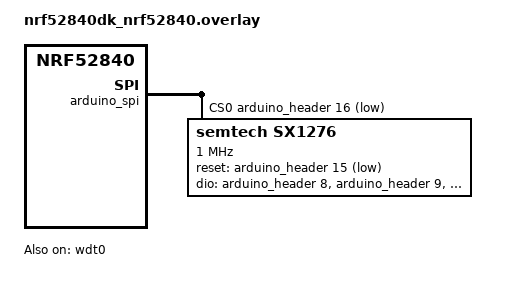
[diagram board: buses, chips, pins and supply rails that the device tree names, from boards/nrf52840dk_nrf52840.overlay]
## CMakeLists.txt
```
cmake_minimum_required(VERSION 3.20.0)

# Snippets shipped with this application (see snippets/). SNIPPET_ROOT covers
# only ZEPHYR_BASE unless the application adds itself, and it has to be set
# before find_package(Zephyr) because that is what processes -S.
list(APPEND SNIPPET_ROOT ${CMAKE_CURRENT_SOURCE_DIR})

# Credentials and any other per-installation override live in prj_local.conf,
# which .gitignore excludes. Applied automatically when present so nobody has to
# remember a flag, and absent by default so a fresh clone still builds — with
# the deliberately fake key Kconfig defaults to. See prj_local.conf.example.
if(EXISTS ${CMAKE_CURRENT_SOURCE_DIR}/prj_local.conf)
    list(APPEND EXTRA_CONF_FILE ${CMAKE_CURRENT_SOURCE_DIR}/prj_local.conf)
    message(STATUS "Applying prj_local.conf")
endif()

find_package(Zephyr REQUIRED HINTS $ENV{ZEPHYR_BASE})
project(base_platform_zephyr_ble_concentrator LANGUAGES C CXX)

# Modules include each other as "hal/ble/ble.hpp", "svc/comms/subsystem.hpp"
# and so on, so every include path is readable as a layer plus a module.
target_include_directories(app PRIVATE src)

# Function-local statics (every get_instance() in this firmware) make GCC emit
# calls to __cxa_guard_acquire/__cxa_guard_release, the thread-safe-init guards.
# Those live in libstdc++, which this build deliberately does not link
# (CONFIG_REQUIRES_FULL_LIBCPP=n in prj.conf), so the link fails on them.
#
# Dropping the guards is safe here because it is not left to chance:
# app::App::initialize() constructs every HAL singleton explicitly, before it
# creates the first thread. Read that function before adding a new singleton.
target_compile_options(app PRIVATE $<$<COMPILE_LANGUAGE:CXX>:-fno-threadsafe-statics>)

# Warnings, on the application only.
#
# CONFIG_COMPILER_WARNINGS_AS_ERRORS in prj.conf makes warnings fatal
# everywhere. Raising the warning level everywhere is a different thing: it
# would break the build on Zephyr and vendor code this project neither owns nor
# can fix. So the higher bar is scoped to the code we write.
target_compile_options(app PRIVATE -Wall -Wextra)

# ASSERT_CRITICAL is live on a debug build only. src/assert/assert.hpp gates on
# APP_DEBUG_BUILD and knows nothing about where it came from; mapping the build
# system's own idea of "debug" onto it happens here, which is the one file
# allowed to know.
if(CONFIG_DEBUG)
    target_compile_definitions(app PRIVATE APP_DEBUG_BUILD)
endif()

# Sources are listed rather than globbed: a file that is added but not built is
# a mistake worth catching at review time, not at link time.
target_sources(app PRIVATE
    src/main.cpp

    # Application
    src/app/app.cpp
    src/app/port.cpp
    src/app/state_machine/state_machine.cpp
    src/app/state_machine/startup/startup.cpp
    src/app/state_machine/listening/listening.cpp
    src/app/state_machine/dispatching/dispatching.cpp
    src/app/state_machine/soft_error/soft_error.cpp
    src/app/state_machine/hard_error/hard_error.cpp

    # Event driven architecture
    src/eda/active_object/active_object.cpp
    src/eda/idle_hook/idle_hook.cpp
    src/eda/port/port.cpp
    src/eda/state_machine/state_machine.cpp
    src/eda/timer/timer.cpp

    # Hardware abstraction layer
    src/hal/ble/zephyr/ble_zephyr.cpp
    src/hal/gpio/zephyr/gpio_zephyr.cpp
    src/hal/led/led.cpp
    src/hal/os/zephyr/os_zephyr.cpp
    src/hal/system/zephyr/system_zephyr.cpp
    src/hal/watchdog/zephyr/watchdog_zephyr.cpp

    # Utilities
    src/utils/fault/fault.cpp

    # Services
    src/svc/acquisition/subsystem.cpp
    src/svc/device_table/subsystem.cpp
    src/svc/comms/subsystem.cpp
    src/svc/system_diagnostics/subsystem.cpp
)

# Exactly one link backend is compiled, chosen by the "Uplink transport" menu
# in Kconfig. This is what makes one repository build both concentrator
# variants instead of forking: everything above src/hal/link is identical.
#
# The two socket backends also share src/hal/link/socket/, which holds the
# socket itself. They differ only in how the interface comes up, so that part
# is compiled once and each backend supplies the difference.
if(CONFIG_APP_LINK_LORA)
    target_sources(app PRIVATE src/hal/link/lora/link_lora.cpp)
elseif(CONFIG_APP_LINK_TCP)
    target_sources(app PRIVATE
        src/hal/link/socket/socket_link.cpp
        src/hal/link/tcp/link_tcp.cpp
    )
elseif(CONFIG_APP_LINK_WIFI)
    target_sources(app PRIVATE
        src/hal/link/socket/socket_link.cpp
        src/hal/link/wifi/link_wifi.cpp
    )
else()
    message(FATAL_ERROR
        "No link backend selected. Set CONFIG_APP_LINK_LORA, CONFIG_APP_LINK_TCP or CONFIG_APP_LINK_WIFI.")
endif()
```

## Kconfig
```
# Application configuration.
#
# Every tunable the firmware has is declared here and consumed through
# src/config.hpp, so no module reads a Kconfig symbol directly and no behaviour
# is changed by editing a source file.

menu "BLE concentrator"

# Uplink transport ------------------------------------------------------------
#
# The concentrator ships in two variants that differ only in how collected
# readings leave the device. Choosing here is what selects the one backend
# compiled under src/hal/link/, and what pulls in the Zephyr subsystem that
# backend needs, so prj.conf carries neither LoRa nor networking symbols.

choice APP_LINK_BACKEND
	prompt "Uplink transport"
	default APP_LINK_LORA
	help
	  Which hal::link backend the firmware is built with. Nothing above
	  hal/link changes with this choice.

config APP_LINK_LORA
	bool "LoRaWAN"
	select SPI
	select LORA
	select LORA_SX127X
	select LORAWAN
	# The stack stores its MAC context in settings, which is what carries the
	# DevNonce over a reboot. From LoRaWAN 1.0.4 an OTAA join must present a
	# DevNonce higher than the last one the join server saw for that DevEUI, so
	# a device that restarts at zero has its join refused as a replay - a join
	# that used to work and now silently does not. These were in prj.conf,
	# where they were also switched on for builds that have no LoRa stack to
	# store anything.
	select FLASH
	select FLASH_MAP
	select NVS
	select SETTINGS
	# Not SETTINGS_NVS or LORAWAN_NVM_SETTINGS: both are choice symbols,
	# and select has no effect on those. Neither is needed anyway. The
	# settings backend choice already carries `default SETTINGS_NVS if
	# NVS`, and the LoRaWAN NVM choice carries `default
	# LORAWAN_NVM_SETTINGS if SETTINGS`, so selecting NVS and SETTINGS
	# above is what picks both.
	help
	  Uplinks go out over LoRaWAN through an SX127x radio described in the
	  board overlay under the lora0 alias.

config APP_LINK_TCP
	bool "TCP"
	select NETWORKING
	select NET_IPV4
	select NET_TCP
	select NET_SOCKETS
	select NET_MGMT
	select NET_MGMT_EVENT
	help
	  Uplinks go out over a TCP connection to a fixed server. The network
	  interface comes from the board: an integrated MAC on a Nucleo, or an
	  SPI Ethernet controller such as a W5500 on a board without one.

config APP_LINK_WIFI
	bool "Wi-Fi"
	select NETWORKING
	select NET_IPV4
	select NET_TCP
	select NET_SOCKETS
	select NET_MGMT
	select NET_MGMT_EVENT
	select WIFI
	select NET_L2_WIFI_MGMT
	help
	  Uplinks go out over a TCP connection carried by Wi-Fi. The socket is
	  the same one the TCP backend uses - the two share
	  hal/link/socket/ - and the only difference is associating with an
	  access point first.

	  Built for the ESP32-S3-DevKitC-1. Two things about that part are
	  worth knowing before choosing this over the wired variant:

	  Wi-Fi and Bluetooth share one 2.4 GHz radio. The scanner goes deaf
	  while Wi-Fi transmits, which is a silicon-level compromise against
	  the rule in docs/ARCHITECTURE.md section 4 that nothing may delay
	  the radio. The nRF52840 plus a wired interface does not have it.

	  Espressif's radio drivers need a system heap and declare how much
	  through HEAP_MEM_POOL_ADD_SIZE_*: 51200 bytes for Wi-Fi and another
	  25600 for the Bluetooth controller, which on this SoC is a vendor
	  blob rather than Zephyr's own. Zephyr provisions exactly the sum.
	  Nothing in this firmware allocates either way; see prj.conf.

endchoice

if APP_LINK_LORA

config APP_LINK_LORA_REGION_US915
	bool "Use the US915 regional parameters"
	default y
	select LORAWAN_REGION_US915
	help
	  The only region implemented today. EU868 is not a matter of flipping
	  this symbol: it has no sub-bands, a single-word channel mask, an
	  enforced duty cycle and a different payload table. See docs/GATEWAYS.md.

config APP_LINK_LORA_SUBBAND
	int "US915 frequency sub-band the gateway uses"
	default 2
	range 1 8
	depends on APP_LINK_LORA_REGION_US915
	help
	  US915 has eight sub-bands and a gateway listens on exactly one.
	  Sub-band n covers the eight 125 kHz channels starting at (n-1)*8, plus
	  the 500 kHz channel 63+n. A device left to hunt all 72 channels takes a
	  very long time to join or never joins, and the symptom looks like an RF
	  or wiring fault rather than a configuration one.

	  Read this off the gateway: on a MultiTech Conduit it is
	  Setup -> LoRa -> Frequency Sub-Band. The unit this firmware is tested
	  against uses 2, which is also the common default.

config APP_LINK_LORA_DEV_EUI_FROM_HWINFO
	bool "Derive the DevEUI from the SoC's factory identifier"
	default y
	select HWINFO
	help
	  The nRF52840's factory identifier is eight bytes and unique per part,
	  which is exactly a DevEUI. Deriving it means a unit can be flashed and
	  powered on without being registered first, and no two units can
	  accidentally ship with the same identity.

	  This works because the gateway accepts any DevEUI presenting the right
	  AppEUI/AppKey pair. Against a join server with per-device credentials,
	  turn this off and set the DevEUI it was registered with.

config APP_LINK_LORA_MAX_UPLINKS_PER_DISPATCH
	int "Uplinks sent per dispatch cycle"
	default 3
	range 1 8
	help
	  How many LoRaWAN transmissions one dispatch cycle may make. Every
	  fragment of an uplink is a separate transmission, and a burst of
	  them back to back from one node is what gets a device throttled by
	  the network server.

	  Three, with the 900 s period above, is roughly 1.2 s of airtime
	  every 15 minutes at DR3 - about 0.13%, which no regional rule or
	  fair-use policy objects to. It reports about 27 devices per cycle at
	  25 bytes a record, so a room of 20 goes out in one pass.

	  Raising it further is not obviously wrong, but measure the airtime
	  first: at DR0 a single packet holds the channel for roughly a
	  quarter of a second, and the arithmetic that makes 3 comfortable at
	  DR3 is not the same one at DR0.

	  Devices that do not fit in a cycle are not dropped. Nothing is
	  acknowledged until it is sent, so they are still pending and the
	  next cycle leads with them. The cost of a low number is latency, not
	  data.

endif # APP_LINK_LORA

if APP_LINK_TCP

config APP_LINK_TCP_USE_DHCP
	bool "Obtain the IP address over DHCP"
	default n
	select NET_DHCPV4
	help
	  Off by default on purpose. With a static address a network that is not
	  there fails at connect() and the state machine retries, which is a
	  state the firmware already handles. With DHCP the device instead has
	  no address at all, and "the network is not up yet" becomes
	  indistinguishable from "the network is gone".

config APP_LINK_TCP_CONNECT_TIMEOUT_MS
	int "Milliseconds to wait for the TCP connection to establish"
	default 5000
	range 100 60000

config APP_LINK_TCP_MAX_FRAGMENT
	int "Largest uplink fragment handed to the transport, in bytes"
	default 242
	range 32 242
	help
	  TCP imposes no such limit, but reporting one keeps svc::comms
	  fragmenting exactly as it does on LoRaWAN, so the uplink wire format
	  and the fragmentation path are identical on both variants and only one
	  of them has to be tested. 242 is the LoRaWAN ceiling, so a fragment
	  built here is always one a LoRa build could also have sent.

endif # APP_LINK_TCP

if APP_LINK_WIFI

config APP_LINK_WIFI_USE_DHCP
	bool "Obtain the IP address over DHCP"
	default y
	select NET_DHCPV4
	help
	  On by default here, unlike the wired backend. An access point is
	  almost always handing out addresses already, and a Wi-Fi deployment
	  is the one where nobody wants to reserve a static address per
	  concentrator by hand.

config APP_LINK_WIFI_CONNECT_TIMEOUT_MS
	int "Milliseconds to wait for the TCP connection to establish"
	default 5000
	range 100 60000

config APP_LINK_WIFI_MAX_FRAGMENT
	int "Largest uplink fragment handed to the transport, in bytes"
	default 242
	range 32 242
	help
	  Wi-Fi imposes no such limit, but reporting one keeps svc::comms
	  fragmenting exactly as it does on LoRaWAN, so the uplink wire format
	  and the fragmentation path are identical on all three variants and
	  only one of them has to be tested.

endif # APP_LINK_WIFI

menu "Per-installation values"

# Addresses, credentials and endpoints, for every transport, defined
# unconditionally and on purpose.
#
# These used to live inside the `if APP_LINK_<transport>` blocks, which meant
# a symbol only existed in the build that used it - and a single gitignored
# prj_local.conf holding one installation's LoRa keys and its Wi-Fi password
# then failed every build but one, because Zephyr treats "assigned a value to
# a symbol whose dependencies are unmet" as an error.
#
# The rule is now: the transport choice gates *behaviour*, never *values*. One
# prj_local.conf describes one installation and builds every variant of it.
# Nothing is compiled in that the build does not use: src/config.hpp still
# reads each group under its own #if, and the linker never sees the rest.

config APP_LINK_LORA_INITIAL_DATARATE
	int "US915 data rate to start at after joining, 0 to 4"
	default 0
	range 0 4
	help
	  A LoRaWAN session begins at whatever data rate this says, and ADR
	  moves it from there. It is here because ADR restarts from scratch on
	  every reboot: at DR0 the payload is 11 bytes against a 12 byte
	  header, so the first cycles after a restart carry no data at all
	  while the network works out how fast this node can talk. At a 900 s
	  dispatch period that is roughly 45 minutes of empty frames after
	  every power cut.

	  0 is the safe default and the one to ship with when the site is
	  unknown: the lowest rate is the one most likely to be heard, and
	  ADR climbs from there.

	  Raise it per installation once the link is measured. Read the uplink
	  RSSI and SNR off the gateway (docs/BRINGUP.md): a node sitting at
	  -60 dBm with 10 dB of SNR is nowhere near its limit and starts at
	  DR3 without drama, which makes every reboot productive immediately.

	  The cost of guessing high is real but self-correcting. A node too far
	  away transmits where nobody hears it, and only recovers once its own
	  ADR back-off gives up and steps down - which takes tens of uplinks.
	  Do not raise this on a site you have not measured.

config APP_LINK_LORA_JOIN_EUI
	string "JoinEUI / AppEUI, 16 hex characters"
	default "0102030405060708"
	help
	  Identifies the application on the join server. Not a secret.

config APP_LINK_LORA_APP_KEY
	string "AppKey, 32 hex characters"
	default "000102030405060708090a0b0c0d0e0f"
	help
	  The root key, from which the session keys are derived. It never leaves
	  the device and never travels over the air.

	  The default here is deliberately not a real key. Override it in a
	  prj_local.conf that .gitignore excludes, so a clone of this repository
	  builds without carrying anyone's credentials.

config APP_LINK_LORA_DEV_EUI
	string "DevEUI, 16 hex characters"
	default "0000000000000000"
	depends on !APP_LINK_LORA_DEV_EUI_FROM_HWINFO

config APP_LINK_TCP_LOCAL_IP
	string "Static IP address of this concentrator"
	default "192.168.1.50"
	depends on !APP_LINK_TCP_USE_DHCP

config APP_LINK_TCP_NETMASK
	string "Static netmask"
	default "255.255.255.0"
	depends on !APP_LINK_TCP_USE_DHCP

config APP_LINK_TCP_GATEWAY
	string "Static default gateway"
	default "192.168.1.1"
	depends on !APP_LINK_TCP_USE_DHCP

config APP_LINK_TCP_SERVER_ADDR
	string "IPv4 address of the uplink server"
	default "192.168.1.10"
	help
	  Dotted-quad only. Resolving a name would make every uplink depend on a
	  DNS server being reachable, which is one more thing to fail between
	  this device and its data.

config APP_LINK_TCP_SERVER_PORT
	int "TCP port of the uplink server"
	default 5000
	range 1 65535

config APP_LINK_WIFI_SSID
	string "SSID of the access point"
	default "changeme"
	help
	  Up to 32 characters. Override it from a gitignored prj_local.conf,
	  the same place the LoRa keys live, so a clone of this repository does
	  not carry anyone's network.

config APP_LINK_WIFI_PSK
	string "Pre-shared key of the access point"
	default ""
	help
	  8 to 64 characters for WPA2-PSK. An empty string means an open
	  network, which is the only case where empty is a valid setting
	  rather than a forgotten one.

	  This is a credential. Put the real one in prj_local.conf.

config APP_LINK_WIFI_LOCAL_IP
	string "Static IP address of this concentrator"
	default "192.168.1.50"
	depends on !APP_LINK_WIFI_USE_DHCP

config APP_LINK_WIFI_NETMASK
	string "Static netmask"
	default "255.255.255.0"
	depends on !APP_LINK_WIFI_USE_DHCP

config APP_LINK_WIFI_GATEWAY
	string "Static default gateway"
	default "192.168.1.1"
	depends on !APP_LINK_WIFI_USE_DHCP

config APP_LINK_WIFI_SERVER_ADDR
	string "IPv4 address of the uplink server"
	default "192.168.1.10"
	help
	  Dotted-quad only. Resolving a name would make every uplink depend on
	  a DNS server being reachable, which is one more thing to fail between
	  this device and its data.

config APP_LINK_WIFI_SERVER_PORT
	int "TCP port of the uplink server"
	default 5000
	range 1 65535

endmenu # Per-installation values

config APP_MAX_DEVICES
	int "Maximum endpoint devices tracked at once"
	default 100
	range 1 500
	help
	  Capacity of the device table. A new device arriving at a full table
	  evicts the least recently seen entry, and the eviction is counted and
	  reported in the uplink. This is the hard limit on how many sensors one
	  concentrator can report from a room.

config APP_ADV_REPORT_POOL_SIZE
	int "Depth of the raw advertising report pool"
	default 32
	range 4 256
	help
	  How many advertising reports can be waiting between the BLE callback
	  and the acquisition thread. This is the burst tolerance: reports that
	  arrive when the pool is full are dropped and counted, never queued at
	  the cost of blocking the Bluetooth stack.

config APP_EXPECTED_COMPANY_ID
	hex "Company identifier accepted in endpoint advertisements"
	default 0x04B2
	help
	  Advertisements carrying any other company id are discarded. This is a
	  filter, not an identity: every endpoint of the product line shares it.

	  Must match the value the endpoint firmware advertises, which is
	  `CONFIG_APP_COMPANY_ID` in base_platform_baremetal_ble's include/config.h. The
	  endpoint writes it low byte first, and this filter compares the value
	  after a little-endian read, so configure it as it reads there: 0x04B2,
	  not 0xB204. 0x04B2 is assigned to The Shadow on the Moon.

config APP_DISPATCH_PERIOD_S
	int "Seconds between uplink dispatches"
	# 900 is the exception, not the fallback. It exists because of LoRa
	# airtime and nothing else, so it is conditional on LoRa and every
	# other transport - including one added later - gets 30. Written the
	# other way round, with 900 as the last default, the Wi-Fi build
	# silently inherited a 15 minute period.
	default 900 if APP_LINK_LORA
	default 30
	range 5 86400
	help
	  How often the collected readings are sent. The default differs by
	  transport because the two products differ, not because the code
	  does.

	  LoRa, 900 s: industrial monitoring. Nobody needs to know within a
	  minute that a motor started, and it is the only rate that fits in
	  the airtime a node is entitled to.

	  TCP, 30 s: building and city sensing, where "is this machine in use
	  right now" is a question someone is waiting on. There is no airtime
	  to ration on a wire.

	  Seconds rather than minutes because 30 s does not round to a useful
	  number of minutes, and a unit that cannot express a valid setting is
	  the wrong unit.

config APP_HEARTBEAT_MAX_SILENCE_S
	int "Longest the device may go without sending anything, in seconds"
	default 3600 if APP_LINK_LORA
	default 120
	range 0 86400
	help
	  Only devices whose reading has not reached the network yet are sent,
	  so a room where nothing changes produces no uplink at all. From the
	  far end that is indistinguishable from a dead concentrator. The rule
	  is that this device is never silent.

	  When this much time has passed with nothing sent, the next dispatch
	  cycle transmits a header with no records and the HEARTBEAT flag set.
	  It carries the dropped-report and eviction counters, so a heartbeat
	  still reports whether the receive path is healthy.

	  Seconds, not dispatch cycles. What matters is how long the far end
	  may hear nothing, and that number comes from whatever consumes the
	  uplinks. Counted in cycles, the same setting meant an hour on the
	  LoRa build and two minutes on the TCP one, and changing the dispatch
	  period silently changed this with it.

	  Set it below whatever timeout the backend uses to declare a device
	  offline, or a quiet installation will trip that alarm.

	  0 disables heartbeats. Only safe if something else on the network
	  already proves the device is alive.

config APP_DEVICE_STALE_AFTER_S
	int "Seconds after which a silent device is considered stale"
	default 3600
	range 60 86400
	help
	  A device that has not advertised for this long is left out of the
	  uplink. It stays in the table as an eviction candidate. An uplink
	  listing a device should mean it was heard from recently.

config APP_CONCENTRATOR_ID
	hex "Identifier of this concentrator"
	default 0x00000001
	help
	  Carried in every uplink header so the receiving side can tell which
	  concentrator reported.

config APP_REPORT_BOOT
	bool "Flag the first uplink after a restart"
	default y
	help
	  Sets a flag in the first uplink sent after boot. It tells the
	  receiving side that the device table started empty, so a gap in a
	  device's history is a restart rather than an absence. Without it, a
	  restart has to be inferred, which fails if nobody was listening when
	  it happened.

module = APP
module-str = Application
source "subsys/logging/Kconfig.template.log_config"

endmenu

source "Kconfig.zephyr"
```

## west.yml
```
# West manifest for this application.
#
# This file also defines the workspace: `west init -l` was pointed at this
# repository, so the Zephyr revision pinned below is the one every application
# sitting beside it in the workspace builds against. Bumping it here moves all
# of them.
#
# Applications live as sibling directories of this one and are ordinary git
# repositories cloned by hand. They are deliberately NOT listed as west
# projects: `west update` checks a project out at its pinned revision with a
# detached HEAD, which is the wrong behaviour for a repository someone develops
# in daily.

manifest:
  version: "0.13"

  remotes:
    - name: zephyrproject-rtos
      url-base: https://github.com/zephyrproject-rtos

  projects:
    - name: zephyr
      remote: zephyrproject-rtos

      # Pin deliberately. Bump it as a reviewed change, not by drift: every
      # Kconfig symbol and devicetree property used by every application in
      # this workspace has to be confirmed against whatever revision is here.
      revision: v4.4.1

      # Import Zephyr's own manifest, but only the modules the targets in this
      # workspace actually build against.
      #
      # A bare `import: true` pulls Zephyr's entire module list: every vendor
      # HAL (Espressif, NXP, Microchip, Infineon, Renesas, TI, Atmel, ...)
      # plus OpenThread, LVGL, TF-M and the rest. That is roughly 9 GB on disk
      # to build for three boards. The allowlist below is what those three
      # boards and this firmware's feature set need, and nothing else.
      #
      # Targets this list is sized for:
      #   nRF52840 DK   (PCA10056)   -> hal_nordic
      #   Nucleo F429ZI              -> hal_stm32
      #   Nucleo H743ZI2             -> hal_stm32
      #
      # Adding a board from a new vendor means adding its HAL here and running
      # `west update` again. A missing module does not fail quietly: CMake
      # stops with the module's name in the error, so the fix is always
      # obvious.
      import:
        name-allowlist:
          # Toolchain and C library, needed by every Cortex-M build.
          - cmsis
          - cmsis_6
          - picolibc
          - mbedtls-3.6
          - tf-psa-crypto

          # Vendor HALs, one per silicon family in use.
          - hal_nordic
          - hal_stm32

          # Espressif, for the ESP32-S3 Wi-Fi variant. Unlike the HALs above,
          # this one is not enough on its own: the Wi-Fi driver depends on
          # ZEPHYR_HAL_ESPRESSIF_MODULE_BLOBS, which are binary blobs west does
          # not fetch with `west update`. After updating, run
          #
          #     west blobs fetch hal_espressif
          #
          # A build without them fails at Kconfig with WIFI_ESP32 unavailable
          # and no obvious reason why, which is worth knowing before spending
          # an evening on it.
          - hal_espressif

          # ST's MEMS sensor drivers. Small, and pulled in by several ST board
          # definitions whether or not a sensor is wired up.
          - hal_st

          # LoRaWAN. This is the stack behind CONFIG_LORAWAN.
          - loramac-node

          # Crypto for the Bluetooth host.
          - mbedtls

          # SEGGER RTT, used for logging over the debug probe.
          - segger

          # CBOR codec, pulled in by several Zephyr subsystems.
          - zcbor

  self:
    path: manifest
```

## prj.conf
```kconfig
# Build ----------------------------------------------------------------------
# A warning is a defect nobody has diagnosed yet, so the build refuses to make
# an image with one in it. This covers the whole tree, Zephyr included. The
# extra warning flags the application is held to are in CMakeLists.txt.
CONFIG_COMPILER_WARNINGS_AS_ERRORS=y

# C++ ------------------------------------------------------------------------
# No exceptions and no RTTI: both cost flash and neither is used. Errors travel
# as return codes instead.
CONFIG_CPP=y
CONFIG_STD_CPP17=y
CONFIG_CPP_EXCEPTIONS=n
CONFIG_CPP_RTTI=n
CONFIG_REQUIRES_FULL_LIBCPP=n

# Memory ---------------------------------------------------------------------
# Nothing this firmware writes allocates at run time. Every queue, pool and
# table is static and sized by a Kconfig symbol, which is what makes the memory
# budget auditable.
#
# This line stays at 0 on every variant, including Wi-Fi, and it is not a
# loophole. Zephyr treats HEAP_MEM_POOL_SIZE as a floor, not a ceiling: a
# subsystem that needs a heap declares it through HEAP_MEM_POOL_ADD_SIZE_*, and
# if the sum of those exceeds this value - even at 0 - the real heap is rounded
# up to the sum. So a LoRa or TCP build genuinely has no heap, because nothing
# declares one, and the Wi-Fi build gets exactly what the vendor's drivers ask
# for and not a byte more.
#
# Measured on the first ESP32-S3 build, from its own .config:
#
#     HEAP_MEM_POOL_ADD_SIZE_ESP_WIFI   51200
#     HEAP_MEM_POOL_ADD_SIZE_ESP_BT     25600
#     HEAP_MEM_POOL_ADD_SIZE_BOARD       4096
#                                       -----
#     K_HEAP_MEM_POOL_SIZE              80896
#
# Note the second line: it is not only Wi-Fi. On this part the Bluetooth
# controller is an Espressif blob that allocates through k_malloc, where on the
# Nordic builds the controller is Zephyr's own and asks for nothing. Enabling
# BLE is what costs the other 25 KB, and it would cost it on this SoC with no
# Wi-Fi at all.
#
# CONFIG_ESP_WIFI_HEAP_SPIRAM=y moves the Wi-Fi adapter's share to PSRAM and
# takes its 51200 down to 19456 - the one measured thing the -N8R8 part's PSRAM
# buys. On the first build the internal DRAM was at 62.67%, so it is worth
# knowing about before that number grows.
CONFIG_HEAP_MEM_POOL_SIZE=0

# Bluetooth ------------------------------------------------------------------
# Observer only: the concentrator scans and never advertises, connects, or
# serves GATT.
CONFIG_BT=y
CONFIG_BT_OBSERVER=y
CONFIG_BT_DEVICE_NAME="ble-concentrator"

# Uplink transport -----------------------------------------------------------
# Not configured here. CONFIG_APP_LINK_LORA (the default) and CONFIG_APP_LINK_TCP
# each select the Zephyr subsystem they need, so this file stays the same for
# both variants and the transport is one symbol, not a block of them. See the
# "Uplink transport" menu in Kconfig.
#
# The LoRaMac stack needs Semtech's software secure element for its crypto.
# Zephyr only implies it when the system workqueue stack is at least 2048 bytes,
# so without this a LoRa build links fine until it fails on a wall of undefined
# SecureElement* references. The TCP variant needs a workqueue of about this
# size for the network stack anyway.
CONFIG_SYSTEM_WORKQUEUE_STACK_SIZE=2048

# Non-volatile settings ------------------------------------------------------
# Not configured here either. The flash, NVS and settings stack exists so the
# LoRaWAN DevNonce survives a reboot, so it is selected by CONFIG_APP_LINK_LORA
# and is absent from a build with no LoRa stack to store anything. It used to be
# switched on unconditionally here, which meant the TCP variant carried a flash
# partition and a settings backend it never wrote to.

# Peripherals ----------------------------------------------------------------
CONFIG_GPIO=y
CONFIG_WATCHDOG=y
CONFIG_HWINFO=y
CONFIG_REBOOT=y

# Logging --------------------------------------------------------------------
CONFIG_LOG=y
CONFIG_APP_LOG_LEVEL_INF=y
CONFIG_UART_CONSOLE=y

# Threads --------------------------------------------------------------------
# Named threads make a stack trace or a shell dump readable.
CONFIG_THREAD_NAME=y
CONFIG_THREAD_MONITOR=y

# LoRaWAN ---------------------------------------------------------------------
CONFIG_APP_DISPATCH_PERIOD_S=60
```

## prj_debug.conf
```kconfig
# Debug overlay. Applied with --debug on run_build_tool.py, never by default.
#
#     python build_flash_tools/run_build_tool.py --variant lora --debug
#
# Builds into build/<variant>-debug, so the release build in build/<variant> is
# left alone and switching between them costs no rebuild.
#
# Every symbol here has to exist on BOTH boards. Zephyr aborts on a Kconfig
# warning, so one that is only defined for Arm takes the Wi-Fi build down.

# Optimisation ----------------------------------------------------------------
# -Os reorders and inlines, which is why stepping through a release build jumps
# backwards and shows <optimized out> for half the locals. -Og keeps the code
# recognisable.
CONFIG_DEBUG=y
CONFIG_DEBUG_OPTIMIZATIONS=y

# CONFIG_DEBUG is also what makes CMakeLists define APP_DEBUG_BUILD, which is
# what makes ASSERT_CRITICAL real. In a release build it compiles to nothing and
# utils::fault is the whole handling. See docs/CODING_STANDARD.md, D1.

# Zephyr's own assertions, off by default.
CONFIG_ASSERT=y

# Thread awareness ------------------------------------------------------------
# Lets a debugger list the threads by name instead of showing one stack.
CONFIG_DEBUG_THREAD_INFO=y

# Stacks ----------------------------------------------------------------------
# Every active object uses Thread::STACK_SIZE = 2048, a number that was chosen
# by copying and never measured. This prints what each one actually used, every
# interval, by name.
CONFIG_THREAD_ANALYZER=y
CONFIG_THREAD_ANALYZER_AUTO=y
CONFIG_THREAD_ANALYZER_RUN_UNLOCKED=y
CONFIG_THREAD_ANALYZER_AUTO_INTERVAL=30

# Logging ---------------------------------------------------------------------
CONFIG_APP_LOG_LEVEL_DBG=y

# What is deliberately not here ------------------------------------------------
#
# CONFIG_HW_STACK_PROTECTION - already y on the nRF52840 by default, and not
#   defined at all on the ESP32-S3, whose Xtensa port has no equivalent. Setting
#   it here would abort the Wi-Fi build for no gain on the other.
#
# CONFIG_EXCEPTION_STACK_TRACE - needs ARCH_HAS_STACKWALK, which neither board
#   selects in this configuration.
#
# CONFIG_RESET_ON_FATAL_ERROR - does not exist. Zephyr's default
#   k_sys_fatal_error_handler() already halts rather than reboots, so there was
#   nothing to turn off. Overriding that handler is the way to change it.
```

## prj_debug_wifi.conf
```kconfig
# Debug overlay, ESP32-S3 only. Applied after prj_debug.conf by
# run_build_tool.py when --debug builds the wifi variant.
#
# Why this exists: with prj_debug.conf alone the board does not boot. The
# bootloader loads the image, prints its map, and the firmware dies before
# Zephyr's banner - during Espressif's Wi-Fi and BT blob initialisation.
#
# The numbers, from the two boot logs:
#
#                    release      debug
#     IRAM            65 316 B    92 436 B
#     libc heap       139 kB      110 kB
#
# -Og costs 27 kB of IRAM against -Os, and on this SoC that comes straight out
# of the heap the blobs allocate from. They ask for 80 kB (51200 Wi-Fi + 25600
# BT) and 110 kB is not enough once everything else has taken its share.
#
# So this build keeps every debug feature except the optimisation level.
# Stepping is worse - the compiler still reorders and inlines - but a firmware
# that boots and can be broken into beats one that steps beautifully and does
# not run.
#
# The nRF52840 has room and keeps -Og. This is an ESP32-S3 problem, not a
# general one.
CONFIG_DEBUG_OPTIMIZATIONS=n
```

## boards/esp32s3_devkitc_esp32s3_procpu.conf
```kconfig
# ESP32-S3-DevKitC-1 — the Wi-Fi concentrator variant.
#
# Applied automatically for this board target. If a build ever ignores it, pass
# it explicitly with -DEXTRA_CONF_FILE=boards/esp32s3_devkitc_esp32s3_procpu.conf
# rather than moving settings into prj.conf, which is shared by all three
# variants.

# Transport ------------------------------------------------------------------
# Chosen here rather than left to the Kconfig default, because this board has
# no SX127x to talk to and no wired interface. Building it any other way is a
# mistake, not a choice.
CONFIG_APP_LINK_WIFI=y

# One core, deliberately -----------------------------------------------------
# The APPCPU stays off. Zephyr's own documentation says access to Zephyr-managed
# serial drivers — printk(), logging, the console UART — is not implemented for
# applications running on the APPCPU, and a concentrator that cannot log on a
# core is worse than one that does not use it. CONFIG_WIFI_ESP32 depends on
# !SMP in any case, so this is not optional while Wi-Fi is on.

# Networking -----------------------------------------------------------------
# One outbound TCP connection and nothing else: no server, no second socket.
# These are starting points sized for that, not measurements. Raise them if the
# logs show packet or buffer exhaustion, and shrink them once the real traffic
# is known.
CONFIG_NET_MAX_CONTEXTS=4
CONFIG_NET_PKT_RX_COUNT=8
CONFIG_NET_PKT_TX_COUNT=8
CONFIG_NET_BUF_RX_COUNT=16
CONFIG_NET_BUF_TX_COUNT=16

# The association result arrives on the net_mgmt event thread, and hal::link's
# handler runs there. It does almost nothing, but the Wi-Fi and DHCP events it
# shares the thread with do not.
CONFIG_NET_MGMT_EVENT_STACK_SIZE=2048

# prj.conf sets 2048, which is what the LoRaMac secure element needs. The
# network stack shares this workqueue and wants more room than that.
CONFIG_SYSTEM_WORKQUEUE_STACK_SIZE=4096

# Heap -----------------------------------------------------------------------
# Not set here on purpose. prj.conf keeps CONFIG_HEAP_MEM_POOL_SIZE=0 on every
# variant, and Zephyr rounds the real heap up to the sum the vendor drivers
# declare through HEAP_MEM_POOL_ADD_SIZE_* - 80896 bytes on the first build
# here, of which 51200 is Wi-Fi and 25600 the Bluetooth controller. Read the
# comment in prj.conf before changing this: putting a number here would replace
# the SDK's own accounting with a guess.
#
# To move the Wi-Fi adapter's share into PSRAM on an -N8R8 part, taking its
# 51200 down to 19456, add CONFIG_ESP_WIFI_HEAP_SPIRAM=y. Confirm the board's
# PSRAM is enabled first. The first build left internal DRAM at 62.67%, so this
# is the lever to remember when that number grows.

# Logging --------------------------------------------------------------------
# The diagnostic Wi-Fi scan emits one line per access point, and in a block of
# flats that is dozens of them within a millisecond or two. The default deferred
# buffer cannot absorb that and drops the middle of the list - which on the
# first run swallowed 28 of 37 results, including the one being looked for.
CONFIG_LOG_BUFFER_SIZE=8192
```

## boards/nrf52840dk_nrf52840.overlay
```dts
/*
 * Modtronix inAir9 (Semtech SX1276) on the nRF52840 DK's Arduino Uno R3 header.
 *
 * Verified by building against Zephyr v4.4.1 and reading back the generated
 * devicetree, not assumed: every index and physical pin below was confirmed in
 * build/zephyr/zephyr.dts. Re-check if the pinned revision in west.yml moves,
 * because a header index that shifts does not fail the build, it produces a
 * radio that never answers.
 *
 * The arduino_header gpio-map index is NOT the Arduino D number. Indices 0-5
 * are A0-A5 and 6-19 are D0-D13, so index = 6 + D. The board's own dts writes
 * the default SPI chip select, which is D10, as <&arduino_header 16 ...>.
 *
 *   inAir9   DK header   index   nRF52840 pin   signal
 *   ------   ---------   -----   ------------   ------
 *   MISO     D12          18     P1.14          SPI3 MISO, set by arduino_spi
 *   MOSI     D11          17     P1.13          SPI3 MOSI, set by arduino_spi
 *   SCK      D13          19     P1.15          SPI3 SCK,  set by arduino_spi
 *   NSS      D10          16     P1.12          SPI3 chip select
 *   RESET    D9           15     P1.11          reset-gpios
 *   DIO0     D2            8     P1.03          dio-gpios[0], TxDone / RxDone
 *   DIO1     D3            9     P1.04          dio-gpios[1]
 *   DIO2     D4           10     P1.05          dio-gpios[2]
 *   VCC      3V3
 *   GND      GND
 *
 * The inAir9 breaks out DIO0 to DIO3 only. If a fourth interrupt is ever
 * needed, D5 (index 11, P1.06) is free for DIO3; there is nowhere to wire DIO4
 * or DIO5, so do not add them.
 */

/ {
	aliases {
		/* hal/lora resolves the radio through this alias, so the driver
		 * choice stays a board decision and not a source-code one. */
		lora0 = &sx1276;
	};
};

&arduino_spi {
	status = "okay";
	cs-gpios = <&arduino_header 16 GPIO_ACTIVE_LOW>; /* D10 */

	sx1276: lora@0 {
		compatible = "semtech,sx1276";
		reg = <0>;

		/* 1 MHz for bring-up on jumper wires. Raise it once the wiring
		 * is on a board rather than in the air. */
		spi-max-frequency = <1000000>;

		reset-gpios = <&arduino_header 15 GPIO_ACTIVE_LOW>;  /* D9 */

		dio-gpios = <&arduino_header 8  GPIO_ACTIVE_HIGH>,   /* D2, DIO0 */
			    <&arduino_header 9  GPIO_ACTIVE_HIGH>,   /* D3, DIO1 */
			    <&arduino_header 10 GPIO_ACTIVE_HIGH>;   /* D4, DIO2 */

		/* The plain inAir9 uses the RFO output. The inAir9B is the
		 * +20 dBm variant and needs "pa-boost" instead: setting this
		 * wrong does not fail to build, it transmits into the wrong
		 * output stage. */
		power-amplifier-output = "rfo";
	};
};

&wdt0 {
	status = "okay";
};
```

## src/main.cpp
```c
/// @file main.cpp
///
/// The entry point of the firmware.
///
/// Everything of substance happens in app::App. This file exists to hand
/// control to it and nothing else: no bring-up order, no events, no decisions.

#include "app/app.hpp"

int main()
{
    app::App::get_instance().initialize();
    app::App::get_instance().run();

    return 0;
}
```

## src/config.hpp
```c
/// @file config.hpp
///
/// Header file that declares the compile-time configuration of the firmware.
///
/// Every value here comes from Kconfig, so nothing in this file is edited to
/// change behaviour: edit `prj.conf` (or a board/variant conf) instead. The
/// defaults live in the top-level `Kconfig`.
///
/// This is the "config.h that says where it goes" from the original brief: the
/// destination of the uplink and the shape of the collection window are decided
/// here, at build time, and no module reads Kconfig symbols directly.

#pragma once

#include <cstdint>

// This file is a seam, like utils/log/log.hpp and hal/os/os.hpp: its whole job
// is to turn the build system's configuration symbols into constexpr values,
// so it is one of the few places allowed to name the build system.
//
// Narrowed to what it actually uses. It used to pull in the kernel and
// devicetree headers, which meant every module that read a configuration value
// got the whole kernel API in scope whether it wanted it or not - and that is
// how a rule like this quietly stops being true.
#include <zephyr/sys/util.h>

namespace config
{

/// Maximum number of distinct endpoint devices tracked at once.
///
/// The hard ceiling on how many sensors one concentrator can report from a
/// room. A new device arriving once the table is full evicts the least recently
/// seen one, and the eviction is counted.
constexpr uint16_t MAX_DEVICES = CONFIG_APP_MAX_DEVICES;

/// Depth of the pool holding raw advertising reports between the BLE callback
/// and the acquisition thread.
///
/// This is the burst tolerance: how many reports can arrive while the
/// acquisition thread is busy before one is dropped.
constexpr uint16_t ADV_REPORT_POOL_SIZE = CONFIG_APP_ADV_REPORT_POOL_SIZE;

/// Company identifier accepted in the endpoint's manufacturer specific data.
///
/// Advertising reports carrying any other company id are discarded in the
/// acquisition thread. This is the only content filter in the receive path.
constexpr uint16_t EXPECTED_COMPANY_ID = CONFIG_APP_EXPECTED_COMPANY_ID;

/// Period between uplink dispatches, in seconds.
///
/// The default comes from the transport: 900 s on LoRa, 30 s on TCP. See the
/// Kconfig help - the two products differ, the code does not.
constexpr uint32_t DISPATCH_PERIOD_S = CONFIG_APP_DISPATCH_PERIOD_S;

/// Period between uplink dispatches, in milliseconds.
constexpr uint32_t DISPATCH_PERIOD_MS = DISPATCH_PERIOD_S * 1000U;

/// Age after which a device that stopped advertising is considered stale, in
/// seconds.
///
/// A stale entry is not reported in the uplink and is the first candidate for
/// eviction when the table is full.
constexpr uint32_t DEVICE_STALE_AFTER_S = CONFIG_APP_DEVICE_STALE_AFTER_S;

/// Longest the device may go without sending anything, in seconds.
///
/// Seconds rather than dispatch cycles: what matters is how long the far end
/// may hear nothing, and that comes from whatever consumes the uplinks, not
/// from this firmware's dispatch period. Zero disables heartbeats. See the
/// Kconfig help for why silence is not a safe default.
constexpr uint32_t HEARTBEAT_MAX_SILENCE_S = CONFIG_APP_HEARTBEAT_MAX_SILENCE_S;

/// Identifier of this concentrator, carried in every uplink header.
constexpr uint32_t CONCENTRATOR_ID = CONFIG_APP_CONCENTRATOR_ID;

/// Whether the first uplink after boot is flagged as such.
///
/// Tells whatever consumes the uplinks that the device restarted and its device
/// table started empty, instead of leaving it to infer a gap.
constexpr bool REPORT_BOOT_IN_FIRST_UPLINK = IS_ENABLED(CONFIG_APP_REPORT_BOOT);

#if defined(CONFIG_APP_LINK_TCP)

/// IPv4 address of the uplink server, as a dotted quad.
constexpr const char* LINK_TCP_SERVER_ADDR = CONFIG_APP_LINK_TCP_SERVER_ADDR;

/// TCP port of the uplink server.
constexpr uint16_t LINK_TCP_SERVER_PORT = CONFIG_APP_LINK_TCP_SERVER_PORT;

/// How long a connection attempt may take before it is called a failure.
constexpr uint32_t LINK_TCP_CONNECT_TIMEOUT_MS = CONFIG_APP_LINK_TCP_CONNECT_TIMEOUT_MS;

/// Largest uplink fragment handed to the transport, in bytes.
///
/// Reported by hal::link::get_max_payload_size() so svc::comms fragments the
/// same way it does on LoRaWAN. See the Kconfig help for why a TCP link
/// declares a limit it does not have.
constexpr uint16_t LINK_TCP_MAX_FRAGMENT = CONFIG_APP_LINK_TCP_MAX_FRAGMENT;

#if !defined(CONFIG_APP_LINK_TCP_USE_DHCP)

/// Static IPv4 address of this concentrator, as a dotted quad.
constexpr const char* LINK_TCP_LOCAL_IP = CONFIG_APP_LINK_TCP_LOCAL_IP;

/// Static netmask, as a dotted quad.
constexpr const char* LINK_TCP_NETMASK = CONFIG_APP_LINK_TCP_NETMASK;

/// Static default gateway, as a dotted quad.
constexpr const char* LINK_TCP_GATEWAY = CONFIG_APP_LINK_TCP_GATEWAY;

#endif // !CONFIG_APP_LINK_TCP_USE_DHCP

#endif // CONFIG_APP_LINK_TCP

#if defined(CONFIG_APP_LINK_WIFI)

/// SSID of the access point to associate with.
constexpr const char* LINK_WIFI_SSID = CONFIG_APP_LINK_WIFI_SSID;

/// Pre-shared key of the access point, or an empty string for an open network.
///
/// A credential. The Kconfig default is deliberately empty: override it from a
/// gitignored prj_local.conf, the same place the LoRa keys live.
constexpr const char* LINK_WIFI_PSK = CONFIG_APP_LINK_WIFI_PSK;

/// IPv4 address of the uplink server, as a dotted quad.
constexpr const char* LINK_WIFI_SERVER_ADDR = CONFIG_APP_LINK_WIFI_SERVER_ADDR;

/// TCP port of the uplink server.
constexpr uint16_t LINK_WIFI_SERVER_PORT = CONFIG_APP_LINK_WIFI_SERVER_PORT;

/// How long a connection attempt may take before it is called a failure.
constexpr uint32_t LINK_WIFI_CONNECT_TIMEOUT_MS = CONFIG_APP_LINK_WIFI_CONNECT_TIMEOUT_MS;

/// Largest uplink fragment handed to the transport, in bytes.
constexpr uint16_t LINK_WIFI_MAX_FRAGMENT = CONFIG_APP_LINK_WIFI_MAX_FRAGMENT;

#if !defined(CONFIG_APP_LINK_WIFI_USE_DHCP)

/// Static IPv4 address of this concentrator, as a dotted quad.
constexpr const char* LINK_WIFI_LOCAL_IP = CONFIG_APP_LINK_WIFI_LOCAL_IP;

/// Static netmask, as a dotted quad.
constexpr const char* LINK_WIFI_NETMASK = CONFIG_APP_LINK_WIFI_NETMASK;

/// Static default gateway, as a dotted quad.
constexpr const char* LINK_WIFI_GATEWAY = CONFIG_APP_LINK_WIFI_GATEWAY;

#endif // !CONFIG_APP_LINK_WIFI_USE_DHCP

#endif // CONFIG_APP_LINK_WIFI

#if defined(CONFIG_APP_LINK_LORA)

/// US915 frequency sub-band the gateway listens on, 1 to 8.
constexpr uint8_t LINK_LORA_SUBBAND = CONFIG_APP_LINK_LORA_SUBBAND;

/// US915 data rate a session starts at, before ADR moves it.
///
/// Zero is the safe default. Raising it is a per-site decision that needs a
/// measured link; see the Kconfig help.
constexpr uint8_t LINK_LORA_INITIAL_DATARATE = CONFIG_APP_LINK_LORA_INITIAL_DATARATE;

/// Number of LoRaWAN transmissions one dispatch cycle may make.
///
/// Every uplink fragment is its own transmission, and several back to back is
/// airtime a single node is not entitled to. See the Kconfig help.
constexpr uint8_t LINK_LORA_MAX_UPLINKS_PER_DISPATCH =
    CONFIG_APP_LINK_LORA_MAX_UPLINKS_PER_DISPATCH;

/// JoinEUI / AppEUI, as 16 hex characters. Not a secret.
constexpr const char* LINK_LORA_JOIN_EUI = CONFIG_APP_LINK_LORA_JOIN_EUI;

/// AppKey, as 32 hex characters.
///
/// The value compiled in comes from Kconfig, whose default is deliberately not
/// a real key: override it from a gitignored prj_local.conf.
constexpr const char* LINK_LORA_APP_KEY = CONFIG_APP_LINK_LORA_APP_KEY;

#if !defined(CONFIG_APP_LINK_LORA_DEV_EUI_FROM_HWINFO)

/// DevEUI, as 16 hex characters, when it is not derived from hardware.
constexpr const char* LINK_LORA_DEV_EUI = CONFIG_APP_LINK_LORA_DEV_EUI;

#endif // !CONFIG_APP_LINK_LORA_DEV_EUI_FROM_HWINFO

#endif // CONFIG_APP_LINK_LORA

} // namespace config
```

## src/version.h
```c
/// @addtogroup grp_version
/// @{
///
/// @file  version.h
///
/// Version header file
///
/// Read by build_flash_tools/run_build_tool.py to name the artefact it copies
/// into output/. Bump it in the same commit as whatever change earns the bump -
/// a version that moves separately from the code names nothing.

#pragma once

#define VER_MAJOR 0
#define VER_MINOR 1
#define VER_PATCH 0
#define RELEASE_TAG "dev"

/// @}
```
